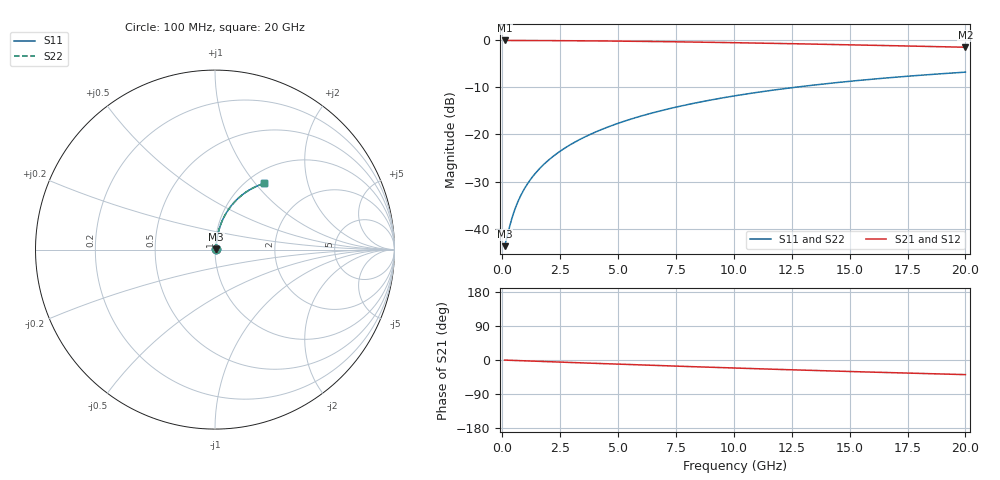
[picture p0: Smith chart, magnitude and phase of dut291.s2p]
! Touchstone file exported from HFSS 2024.1.0
!  File:  C:/UserFiles/LocalFiles/RDL_TSV_Batchsim/temp_RDL_top_291_1778690446.aedt
!  Generated:  12:43:06 AM May 14, 2026
!  Design:  RDL_top
!  Project:  temp_RDL_top_291_1778690446
!  Setup:  Setup1
!  Solution:  Sweep
! Variables:
!  dtsv = 10.80580581um
!  hbump = 3um
!  htsv = 75.53um
!  ldown = 100um
!  lrdl = 465.41um
!  p = 40
!  p1 = 47.6um
!  rhole = 1um
!  t = 450um
!  tdown = 3.915915916um
!  trdl = 2.5um
!  wdown = 15.38538539um
!  wrdl = 11.3um
# GHz S MA R 50.000000
! Terminal data exported
! Port[1] = Box2_T1
! Port[2] = Box2_T2
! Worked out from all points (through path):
!   200 points, 100 MHz to 20 GHz, reference 50 ohm
!   highest |S21| = -0.05 dB at 100 MHz (marker M1); lowest = -1.5 dB at 20 GHz (marker M2)
!   group delay of S21, straight-line fit = 5.37 ps
!   lowest |S11| = -43.7 dB at 100 MHz (marker M3), VSWR 1.01, Z = 50.6 + j0.277 ohm
!   |S11| at or under -10 dB: start of sweep to 12.63 GHz
!   |S22| runs from -43.7 to -6.8 dB; largest |S21 - S12| = 2.3e-15
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0.1  0.006528 24.7  0.9941 -0.2  0.9941 -0.2  0.006528 24.7
! Gamma 0 0 0 0
! Port Impedance 50 0 50 0
0.4  0.01252 60.2  0.9938 -0.9  0.9938 -0.9  0.01252 60.2
0.5  0.01496 64.8  0.9937 -1.1  0.9937 -1.1  0.01496 64.8
0.6  0.01747 68.0  0.9935 -1.4  0.9935 -1.4  0.01747 68.0
0.7  0.02001 70.4  0.9934 -1.6  0.9934 -1.6  0.02001 70.4
0.9  0.02512 73.5  0.993 -2.0  0.993 -2.0  0.02512 73.5
1.2  0.03284 76.2  0.9925 -2.7  0.9925 -2.7  0.03284 76.2
1.4  0.03799 77.3  0.9921 -3.1  0.9921 -3.1  0.03799 77.3
1.7  0.04574 78.4  0.9914 -3.8  0.9914 -3.8  0.04574 78.4
2.2  0.05869 79.3  0.9901 -4.9  0.9901 -4.9  0.05869 79.3
2.8  0.07428 79.6  0.9883 -6.2  0.9883 -6.2  0.07427 79.5
3.5  0.09247 79.3  0.9857 -7.7  0.9857 -7.7  0.09246 79.3
4.2  0.1106 78.7  0.9826 -9.2  0.9826 -9.2  0.1106 78.7
5  0.1313 77.8  0.9784 -11.0  0.9784 -11.0  0.1313 77.8
5.9  0.1545 76.6  0.9731 -12.9  0.9731 -12.9  0.1544 76.6
6.8  0.1774 75.3  0.9671 -14.7  0.9671 -14.7  0.1773 75.2
8.3  0.2149 72.8  0.956 -17.8  0.956 -17.8  0.2148 72.8
10.1  0.2584 69.8  0.9409 -21.3  0.9409 -21.3  0.2584 69.8
11.7  0.2955 67.1  0.9263 -24.4  0.9263 -24.4  0.2955 67.0
13.4  0.3331 64.2  0.9098 -27.5  0.9098 -27.5  0.333 64.1
16.7  0.3998 58.7  0.8764 -33.2  0.8764 -33.2  0.3997 58.6
20  0.4583 53.5  0.8422 -38.6  0.8422 -38.6  0.4582 53.5
